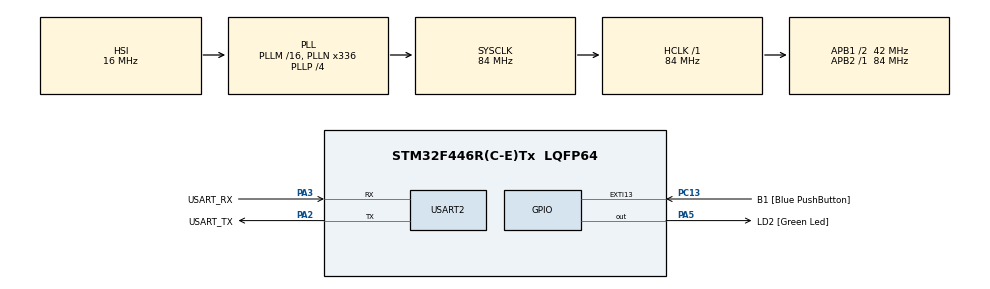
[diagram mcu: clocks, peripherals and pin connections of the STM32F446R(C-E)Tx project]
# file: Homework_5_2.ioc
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Mcu.Family=STM32F4
Mcu.Name=STM32F446R(C-E)Tx
Mcu.Package=LQFP64
NVIC.PriorityGroup=NVIC_PRIORITYGROUP_0
PA13.GPIO_Label=TMS
PA13.Mode=Serial_Wire
PA13.Signal=SYS_JTMS-SWDIO
PA14.GPIO_Label=TCK
PA14.Mode=Serial_Wire
PA14.Signal=SYS_JTCK-SWCLK
PA2.GPIO_Label=USART_TX
PA2.Mode=Asynchronous
PA2.Signal=USART2_TX
PA3.GPIO_Label=USART_RX
PA3.Mode=Asynchronous
PA3.Signal=USART2_RX
PA5.GPIO_Label=LD2 [Green Led]
PA5.Signal=GPIO_Output
PB3.GPIO_Label=SWO
PB3.Signal=SYS_JTDO-SWO
PC13.GPIO_Label=B1 [Blue PushButton]
PC13.GPIO_ModeDefaultEXTI=GPIO_MODE_IT_FALLING
PC13.Signal=GPXTI13
PC14-OSC32_IN.Mode=LSE-External-Oscillator
PC14-OSC32_IN.Signal=RCC_OSC32_IN
PC15-OSC32_OUT.Mode=LSE-External-Oscillator
PC15-OSC32_OUT.Signal=RCC_OSC32_OUT
PH0-OSC_IN.Mode=HSE-External-Oscillator
PH0-OSC_IN.Signal=RCC_OSC_IN
PH1-OSC_OUT.Mode=HSE-External-Oscillator
PH1-OSC_OUT.Signal=RCC_OSC_OUT
ProjectManager.HeapSize=0x200
ProjectManager.StackSize=0x400
ProjectManager.TargetToolchain=STM32CubeIDE
RCC.48MHZClocksFreq_Value=84000000
RCC.AHBFreq_Value=84000000
RCC.APB1CLKDivider=RCC_HCLK_DIV2
RCC.APB1Freq_Value=42000000
RCC.APB1TimFreq_Value=84000000
RCC.APB2Freq_Value=84000000
RCC.APB2TimFreq_Value=84000000
RCC.CortexFreq_Value=84000000
RCC.FLatency-AdvancedSettings=FLASH_LATENCY_2
RCC.HCLKFreq_Value=84000000
RCC.HSE_VALUE=8000000
RCC.HSI_VALUE=16000000
RCC.PLLN=336
RCC.PLLP=RCC_PLLP_DIV4
RCC.SYSCLKFreq_VALUE=84000000
RCC.SYSCLKSource=RCC_SYSCLKSOURCE_PLLCLK
RCC.USBFreq_Value=168000000
RCC.VCOOutputFreq_Value=336000000
USART2.VirtualMode=VM_ASYNC
board=NUCLEO-F446RE

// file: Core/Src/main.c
/* USER CODE BEGIN Header */
/**
  ******************************************************************************
  * @file           : main.c
  * @brief          : Main program body
  ******************************************************************************
  * @attention
  *
  * Copyright (c) 2025 STMicroelectronics.
  * All rights reserved.
  *
  * This software is licensed under terms that can be found in the LICENSE file
  * in the root directory of this software component.
  * If no LICENSE file comes with this software, it is provided AS-IS.
  *
  ******************************************************************************
  */
/* USER CODE END Header */
#include "main.h"
#include <math.h>
#include <string.h> // memset icin
#include "model_data_q2.h"
/* USER CODE BEGIN Includes */
float relu(float x) {
    return (x > 0.0f) ? x : 0.0f;
}

// Hu Moment Hesaplama (Ayni fonksiyonu buraya da koyun)
void calculate_hu_moments(const uint8_t img[28][28], float hu[7]) {
    // 1. Raw Moments (m_pq)
    double m00 = 0, m10 = 0, m01 = 0;

    for (int y = 0; y < 28; y++) {
        for (int x = 0; x < 28; x++) {
            double val = (img[y][x] > 0) ? 1.0 : 0.0;
            m00 += val;
            m10 += x * val;
            m01 += y * val;
        }
    }

    // Eger resim bombossa hata vermesin diye cikis
    if (m00 == 0) {
        for(int i=0; i<7; i++) hu[i] = 0.0f;
        return;
    }

    // 2. Agirlik Merkezi (Centroid)
    double cx = m10 / m00;
    double cy = m01 / m00;

    // 3. Central Moments (mu_pq)
    double mu20 = 0, mu11 = 0, mu02 = 0;
    double mu30 = 0, mu21 = 0, mu12 = 0, mu03 = 0;

    for (int y = 0; y < 28; y++) {
        for (int x = 0; x < 28; x++) {
            double val = (img[y][x] > 0) ? 1.0 : 0.0;
            double dx = x - cx;
            double dy = y - cy;

            mu20 += dx * dx * val;
            mu11 += dx * dy * val;
            mu02 += dy * dy * val;
            mu30 += dx * dx * dx * val;
            mu21 += dx * dx * dy * val;
            mu12 += dx * dy * dy * val;
            mu03 += dy * dy * dy * val;
        }
    }

    // 4. Normalized Central Moments (nu_pq)
    // Scale invariant olmasi icin
    double inv_m00_2 = 1.0 / (pow(m00, 2));
    double inv_m00_2_5 = 1.0 / (pow(m00, 2.5));

    double nu20 = mu20 * inv_m00_2;
    double nu11 = mu11 * inv_m00_2;
    double nu02 = mu02 * inv_m00_2;
    double nu30 = mu30 * inv_m00_2_5;
    double nu21 = mu21 * inv_m00_2_5;
    double nu12 = mu12 * inv_m00_2_5;
    double nu03 = mu03 * inv_m00_2_5;

    // 5. Hu Moments (h1..h7) - ASIL HESAPLAMA BURASI
    double t1 = nu20 + nu02;
    double t2 = nu20 - nu02;
    double t3 = nu30 - 3 * nu12;
    double t4 = 3 * nu21 - nu03;
    double t5 = nu30 + nu12;
    double t6 = nu21 + nu03;

    hu[0] = (float)t1;
    hu[1] = (float)(t2 * t2 + 4 * nu11 * nu11);
    hu[2] = (float)(t3 * t3 + t4 * t4);
    hu[3] = (float)(t5 * t5 + t6 * t6);
    hu[4] = (float)(t3 * t5 * (t5 * t5 - 3 * t6 * t6) + t4 * t6 * (3 * t5 * t5 - t6 * t6));
    hu[5] = (float)(t2 * (t5 * t5 - t6 * t6) + 4 * nu11 * t5 * t6);
    hu[6] = (float)(t4 * t5 * (t5 * t5 - 3 * t6 * t6) - t3 * t6 * (3 * t5 * t5 - t6 * t6));
}

// MLP Tahmin Fonksiyonu (Ayni kalabilir)
int predict_digit_mlp(float input_hu[7]) {
    // Katman 1
    float hidden1[100];
    for (int i = 0; i < 100; i++) {
        float sum = 0.0f;
        for (int j = 0; j < 7; j++) {
            sum += input_hu[j] * W1[j * 100 + i];
        }
        sum += B1[i];
        hidden1[i] = relu(sum);
    }

    // Katman 2
    float hidden2[100];
    for (int i = 0; i < 100; i++) {
        float sum = 0.0f;
        for (int j = 0; j < 100; j++) {
            sum += hidden1[j] * W2[j * 100 + i];
        }
        sum += B2[i];
        hidden2[i] = relu(sum);
    }

    // Cikis Katmani
    float output[10];
    for (int i = 0; i < 10; i++) {
        float sum = 0.0f;
        for (int j = 0; j < 100; j++) {
            sum += hidden2[j] * W3[j * 10 + i];
        }
        sum += B3[i];
        output[i] = sum;
    }

    // Argmax
    int best_class = 0;
    float max_val = output[0];
    for(int i=1; i<10; i++) {
        if(output[i] > max_val) {
            max_val = output[i];
            best_class = i;
        }
    }
    return best_class;
}

/* USER CODE END 0 */

/* USER CODE END 0 */

/* USER CODE END 2 */
/* USER CODE END Includes */

UART_HandleTypeDef huart2;

void SystemClock_Config(void);
static void MX_GPIO_Init(void);
static void MX_USART2_UART_Init(void);
/* USER CODE BEGIN PFP */
volatile int result = 0;
volatile float my_hu[7];
/* USER CODE END PFP */

int main(void)
{

  /* MCU Configuration--------------------------------------------------------*/

  /* Reset of all peripherals, Initializes the Flash interface and the Systick. */
  HAL_Init();
  SystemClock_Config();
  MX_GPIO_Init();
  MX_USART2_UART_Init();

  calculate_hu_moments(sample_image, my_hu);
  result = predict_digit_mlp(my_hu);
  /* USER CODE END 2 */

  /* Infinite loop */
  while (1)
  {

  }
}

void SystemClock_Config(void)
{
  RCC_OscInitTypeDef RCC_OscInitStruct = {0};
  RCC_ClkInitTypeDef RCC_ClkInitStruct = {0};

  /** Configure the main internal regulator output voltage
  */
  __HAL_RCC_PWR_CLK_ENABLE();
  __HAL_PWR_VOLTAGESCALING_CONFIG(PWR_REGULATOR_VOLTAGE_SCALE3);

  /** Initializes the RCC Oscillators according to the specified parameters
  * in the RCC_OscInitTypeDef structure.
  */
  RCC_OscInitStruct.OscillatorType = RCC_OSCILLATORTYPE_HSI;
  RCC_OscInitStruct.HSIState = RCC_HSI_ON;
  RCC_OscInitStruct.HSICalibrationValue = RCC_HSICALIBRATION_DEFAULT;
  RCC_OscInitStruct.PLL.PLLState = RCC_PLL_ON;
  RCC_OscInitStruct.PLL.PLLSource = RCC_PLLSOURCE_HSI;
  RCC_OscInitStruct.PLL.PLLM = 16;
  RCC_OscInitStruct.PLL.PLLN = 336;
  RCC_OscInitStruct.PLL.PLLP = RCC_PLLP_DIV4;
  RCC_OscInitStruct.PLL.PLLQ = 2;
  RCC_OscInitStruct.PLL.PLLR = 2;
  if (HAL_RCC_OscConfig(&RCC_OscInitStruct) != HAL_OK)
  {
    Error_Handler();
  }

  /** Initializes the CPU, AHB and APB buses clocks
  */
  RCC_ClkInitStruct.ClockType = RCC_CLOCKTYPE_HCLK|RCC_CLOCKTYPE_SYSCLK
                              |RCC_CLOCKTYPE_PCLK1|RCC_CLOCKTYPE_PCLK2;
  RCC_ClkInitStruct.SYSCLKSource = RCC_SYSCLKSOURCE_PLLCLK;
  RCC_ClkInitStruct.AHBCLKDivider = RCC_SYSCLK_DIV1;
  RCC_ClkInitStruct.APB1CLKDivider = RCC_HCLK_DIV2;
  RCC_ClkInitStruct.APB2CLKDivider = RCC_HCLK_DIV1;

  if (HAL_RCC_ClockConfig(&RCC_ClkInitStruct, FLASH_LATENCY_2) != HAL_OK)
  {
    Error_Handler();
  }
}

static void MX_USART2_UART_Init(void)
{

  huart2.Instance = USART2;
  huart2.Init.BaudRate = 115200;
  huart2.Init.WordLength = UART_WORDLENGTH_8B;
  huart2.Init.StopBits = UART_STOPBITS_1;
  huart2.Init.Parity = UART_PARITY_NONE;
  huart2.Init.Mode = UART_MODE_TX_RX;
  huart2.Init.HwFlowCtl = UART_HWCONTROL_NONE;
  huart2.Init.OverSampling = UART_OVERSAMPLING_16;
  if (HAL_UART_Init(&huart2) != HAL_OK)
  {
    Error_Handler();
  }

}

static void MX_GPIO_Init(void)
{
  GPIO_InitTypeDef GPIO_InitStruct = {0};

  /* GPIO Ports Clock Enable */
  __HAL_RCC_GPIOC_CLK_ENABLE();
  __HAL_RCC_GPIOH_CLK_ENABLE();
  __HAL_RCC_GPIOA_CLK_ENABLE();
  __HAL_RCC_GPIOB_CLK_ENABLE();

  /*Configure GPIO pin Output Level */
  HAL_GPIO_WritePin(LD2_GPIO_Port, LD2_Pin, GPIO_PIN_RESET);

  /*Configure GPIO pin : B1_Pin */
  GPIO_InitStruct.Pin = B1_Pin;
  GPIO_InitStruct.Mode = GPIO_MODE_IT_FALLING;
  GPIO_InitStruct.Pull = GPIO_NOPULL;
  HAL_GPIO_Init(B1_GPIO_Port, &GPIO_InitStruct);

  /*Configure GPIO pin : LD2_Pin */
  GPIO_InitStruct.Pin = LD2_Pin;
  GPIO_InitStruct.Mode = GPIO_MODE_OUTPUT_PP;
  GPIO_InitStruct.Pull = GPIO_NOPULL;
  GPIO_InitStruct.Speed = GPIO_SPEED_FREQ_LOW;
  HAL_GPIO_Init(LD2_GPIO_Port, &GPIO_InitStruct);

}

void Error_Handler(void)
{
  __disable_irq();
  while (1)
  {
  }
}
